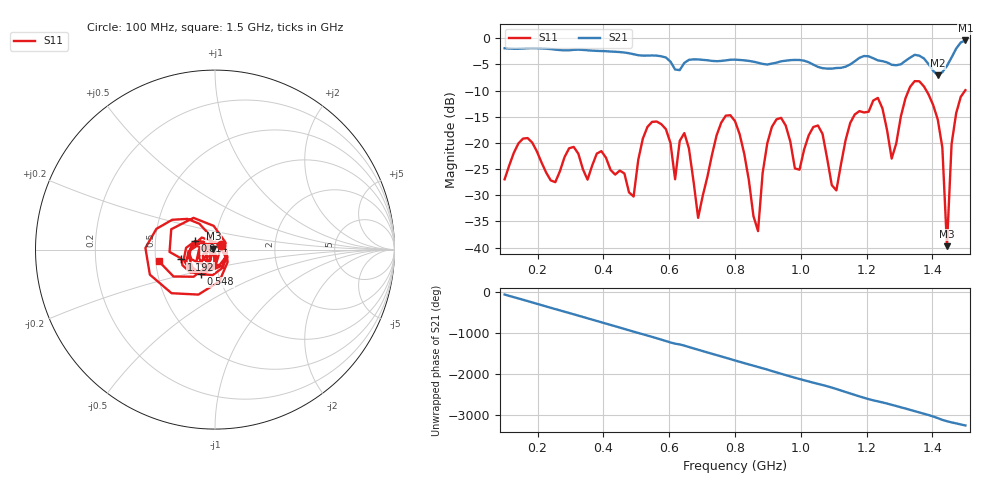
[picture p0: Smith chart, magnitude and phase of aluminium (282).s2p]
! NanoVNA-App
! Date: 2025-09-25 14:57:28
! Start: 100MHz Stop: 1,5GHz Points: 101
! S-Parameter data: F S11 S21 S12 S22
# Hz S RI R 50
!  Frequency  S11_Real  S11_Imag  S21_Real  S21_Imag  S12_Real  S12_Imag  S22_Real  S22_Imag
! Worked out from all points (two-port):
!   101 points, 100 MHz to 1.5 GHz, reference 50 ohm
!   highest |S21| = -0.43 dB at 1.5 GHz (marker M1); lowest = -7.1 dB at 1.416 GHz (marker M2)
!   |S21| within 3 dB of the highest: start of sweep to 573.3 MHz; 1.46 GHz to end of sweep (the widest 2 of 4)
!   lowest |S11| = -39.7 dB at 1.444 GHz (marker M3), VSWR 1.02, Z = 49.1 + j0.5 ohm
!   |S11| at or under -10 dB: start of sweep to 1.327 GHz; 1.381 GHz to 1.499 GHz (118 MHz wide, 8.19 % of centre)
!   S12 and S22 are empty: the file has one direction only
!   S11 on the Smith chart (normalised r, x): 100 MHz: 1.07, +0.06; 548 MHz: 0.82, -0.23; 814 MHz: 0.80, +0.07; 1.192 GHz: 0.68, -0.08; 1.5 GHz: 0.52, -0.08
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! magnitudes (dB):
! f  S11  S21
! 100 MHz  -27.0  -1.9
! 338 MHz  -25.0  -2.2
! 492 MHz  -30.2  -3.1
! 548 MHz  -16.0  -3.3
! 576 MHz  -16.4  -3.5
! 618 MHz  -27.0  -6.0
! 646 MHz  -18.1  -4.7
! 688 MHz  -34.3  -4.1
! 800 MHz  -15.8  -4.1
! 814 MHz  -18.3  -4.2
! 870 MHz  -36.9  -4.7
! 912 MHz  -17.0  -4.8
! 996 MHz  -25.1  -4.2
! 1.038 GHz  -17.0  -5.0
! 1.108 GHz  -29.1  -5.7
! 1.192 GHz  -14.2  -3.4
! 1.276 GHz  -23.0  -5.1
! 1.346 GHz  -8.2  -3.2
! 1.416 GHz  -15.5  -7.1
! 1.444 GHz  -39.7  -5.3
! 1.458 GHz  -20.2  -3.7
! 1.5 GHz  -9.9  -0.4
